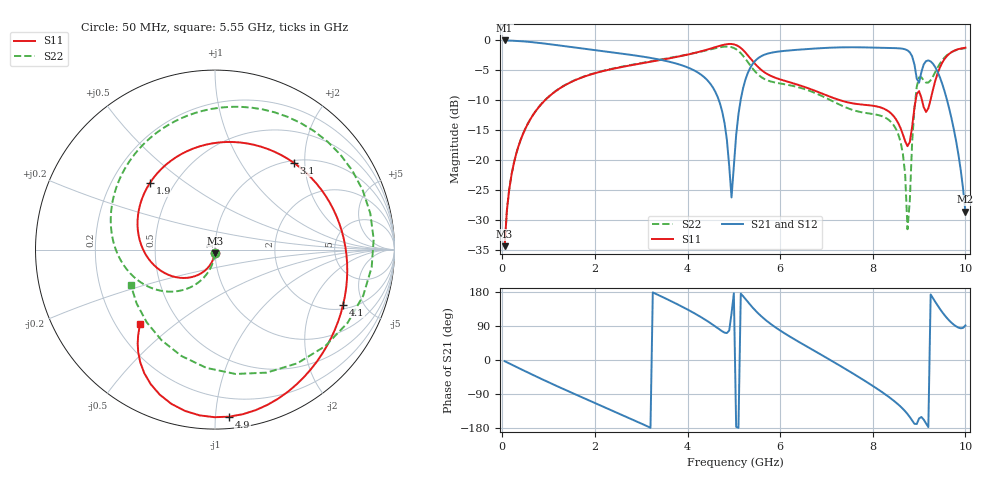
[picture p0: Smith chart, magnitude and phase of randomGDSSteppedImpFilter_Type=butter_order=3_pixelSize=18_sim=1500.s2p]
! freq	dB(S11)	phase(S11)	dB(S12)	phase(S12)
!  dB(S21)	phase(S21)	dB(S22)	phase(S22)
!S-par simulation data
#  GHz  S  DB  R 50
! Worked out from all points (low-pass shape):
!   200 points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, 50 MHz to 10 GHz, reference 50 ohm
!   highest |S21| = -0.01 dB at 50 MHz (marker M1); lowest = -28.5 dB at 10 GHz (marker M2)
!   |S21| within 3 dB of the highest: start of sweep to 3.268 GHz; 5.519 GHz to 8.863 GHz (3.344 GHz wide, 46.5 % of centre)
!   lowest |S11| = -34.3 dB at 50 MHz (marker M3), VSWR 1.04, Z = 49.8 - j1.92 ohm
!   |S11| at or under -10 dB: start of sweep to 919.5 MHz; 7.304 GHz to 8.926 GHz (1.622 GHz wide, 20 % of centre); 9.064 GHz to 9.245 GHz (180.8 MHz wide, 1.98 % of centre)
!   |S22| runs from -34.3 to -1.0 dB; largest |S21 - S12| = 0
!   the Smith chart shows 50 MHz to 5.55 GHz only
!   S11 on the Smith chart (normalised r, x): 50 MHz: 1.00, -0.04; 1.9 GHz: 0.37, +0.37; 3.1 GHz: 1.05, +1.76; 4.1 GHz: 2.25, -3.49; 4.9 GHz: 0.07, -1.09; 5.55 GHz: 0.30, -0.38
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0.05  -34.30 -93.6  -0.01 -3.1  -0.01 -3.1  -34.25 -92.1
0.5  -14.69 -126.8  -0.19 -29.9  -0.19 -29.9  -14.66 -114.1
1.75  -6.09 145.0  -1.38 -99.9  -1.38 -99.9  -6.05 -166.1
1.9  -5.70 134.4  -1.53 -108.0  -1.53 -108.0  -5.66 -171.7
3.1  -3.70 47.8  -2.79 -173.2  -2.79 -173.2  -3.64 144.7
3.4  -3.28 26.0  -3.20 169.7  -3.20 169.7  -3.23 132.3
4.1  -2.19 -23.3  -4.83 126.6  -4.83 126.6  -2.19 94.8
4.9  -0.59 -85.2  -20.96 77.8  -20.96 77.8  -1.05 3.8
4.95  -0.59 -90.2  -26.17 122.9  -26.17 122.9  -1.13 -6.4
5.05  -0.78 -100.6  -15.78 -176.3  -15.78 -176.3  -1.47 -28.9
5.25  -2.01 -119.8  -6.53 160.9  -6.53 160.9  -3.07 -80.6
5.55  -4.63 -135.1  -2.82 120.2  -2.82 120.2  -5.86 -157.1
6.05  -6.62 -147.0  -1.78 73.9  -1.78 73.9  -7.25 117.2
6.7  -8.24 -165.6  -1.38 26.9  -1.38 26.9  -8.59 43.3
7.5  -10.39 179.1  -1.14 -30.3  -1.14 -30.3  -11.42 -54.7
8.35  -11.88 155.0  -1.26 -97.8  -1.26 -97.8  -13.28 -170.0
8.65  -15.66 146.0  -1.39 -128.8  -1.39 -128.8  -18.89 148.1
8.75  -17.63 160.7  -1.66 -142.5  -1.66 -142.5  -31.47 112.1
9  -8.45 122.1  -7.05 -154.3  -7.05 -154.3  -6.16 -130.4
9.2  -11.32 -17.0  -3.33 -177.0  -3.33 -177.0  -7.03 -168.6
9.45  -4.50 -111.5  -6.16 134.8  -6.16 134.8  -3.87 172.4
10  -1.22 165.3  -28.55 91.3  -28.55 91.3  -1.29 111.3
